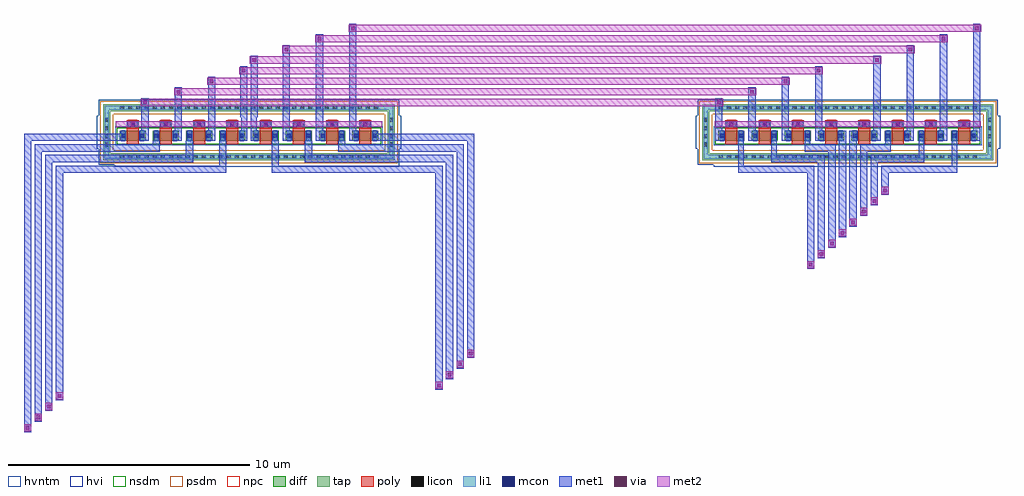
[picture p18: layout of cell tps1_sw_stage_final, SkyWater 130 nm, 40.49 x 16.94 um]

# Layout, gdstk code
import gdstk
lib = gdstk.Library(unit=1e-6, precision=1e-09)
def R(c, l, rs):  # rectangles x0, y0, x1, y1
    for r in rs: c.add(gdstk.rectangle(r[:2], r[2:], *l))
def A(c, l, x, y, w, h, nx, ny, dx, dy):  # array of equal rectangles
    R(c, l, [(x+i*dx, y+j*dy, x+i*dx+w, y+j*dy+h) for i in range(nx) for j in range(ny)])
diff = (65, 20)
tap = (65, 44)
poly = (66, 20)
licon = (66, 44)
li1 = (67, 20)
mcon = (67, 44)
met1 = (68, 20)
via = (68, 44)
met2 = (69, 20)
hvi = (75, 20)
nsdm = (93, 44)
psdm = (94, 20)
npc = (95, 20)
hvntm = (125, 20)

sky130_fd_pr__nfet_g5v0d = lib.new_cell('sky130_fd_pr__nfet_g5v0d10v5_NQHLCX')
R(sky130_fd_pr__nfet_g5v0d, diff, [(-0.54,-0.365,0.54,0.055)])
R(sky130_fd_pr__nfet_g5v0d, poly, [(-0.25,-0.495,0.25,0.495)])
R(sky130_fd_pr__nfet_g5v0d, licon, [(-0.48,-0.24,-0.31,-0.07), (0.31,-0.24,0.48,-0.07), (-0.085,0.245,0.085,0.415)])
R(sky130_fd_pr__nfet_g5v0d, li1, [(-0.48,-0.385,-0.31,0.075), (0.31,-0.385,0.48,0.075), (-0.25,0.245,0.25,0.415)])
R(sky130_fd_pr__nfet_g5v0d, mcon, [(-0.48,-0.24,-0.31,-0.07), (0.31,-0.24,0.48,-0.07), (-0.085,0.245,0.085,0.415)])
R(sky130_fd_pr__nfet_g5v0d, met1, [(-0.51,-0.365,-0.28,0.055), (0.28,-0.365,0.51,0.055), (-0.23,0.215,0.23,0.445)])
R(sky130_fd_pr__nfet_g5v0d, hvi, [(-0.725,-0.575,0.725,0.265)])
R(sky130_fd_pr__nfet_g5v0d, nsdm, [(-0.665,-0.49,0.665,0.18)])
R(sky130_fd_pr__nfet_g5v0d, npc, [(-0.185,0.145,0.185,0.515)])
R(sky130_fd_pr__nfet_g5v0d, hvntm, [(-0.725,-0.55,0.725,0.24)])

hnmos_1 = lib.new_cell('hnmos_1')
R(hnmos_1, met1, [(0.325,0.71,0.645,0.97)])
R(hnmos_1, via, [(0.41,0.765,0.56,0.915)])
R(hnmos_1, met2, [(-0.205,0.71,1.175,0.97)])
hnmos_1.add(gdstk.Reference(sky130_fd_pr__nfet_g5v0d, (0.485,0.51)))

hnmos_2 = lib.new_cell('hnmos_2')
R(hnmos_2, nsdm, [(1.335,0.01,1.385,0.68)])
hnmos_2.add(gdstk.Reference(hnmos_1, (1.565,-0.01)))
hnmos_2.add(gdstk.Reference(hnmos_1, (0.185,-0.01)))

hnmos_4 = lib.new_cell('hnmos_4')
R(hnmos_4, nsdm, [(2.695,0.005,2.745,0.675)])
hnmos_4.add(gdstk.Reference(hnmos_2, (2.74,-0.005)))
hnmos_4.add(gdstk.Reference(hnmos_2, (-0.02,-0.005)))

hnmos_8 = lib.new_cell('hnmos_8')
R(hnmos_8, tap, [(-0.505,-0.72,11.575,-0.43), (-0.505,-0.43,-0.215,1.32), (11.285,-0.43,11.575,1.32), (-0.505,1.32,11.575,1.61)])
A(hnmos_8, licon, 0.18, -0.66, 0.17, 0.17, 32, 2, 0.34, 2.04)
A(hnmos_8, licon, -0.445, -0.15, 0.17, 0.17, 1, 4, 0, 0.34)
A(hnmos_8, licon, 11.345, -0.15, 0.17, 0.17, 1, 4, 0, 0.34)
R(hnmos_8, li1, [(-0.445,-0.66,11.515,-0.49), (-0.445,-0.49,-0.275,1.38), (11.345,-0.49,11.515,1.38), (-0.445,1.38,11.515,1.55)])
R(hnmos_8, hvi, [(-0.03,-0.995,11.76,-0.905), (-0.69,-0.905,11.76,-0.245), (-0.78,-0.245,11.85,-0.13), (-0.78,-0.13,0.06,0.71), (11.01,-0.13,11.85,0.71), (-0.78,0.71,11.85,1.135), (-0.69,1.135,11.76,1.795)])
R(hnmos_8, nsdm, [(5.51,-0.045,5.56,0.625)])
R(hnmos_8, psdm, [(-0.63,-0.845,11.7,-0.305), (-0.63,-0.305,-0.09,1.195), (11.16,-0.305,11.7,1.195), (-0.63,1.195,11.7,1.735)])
hnmos_8.add(gdstk.Reference(hnmos_4, (5.575,-0.05)))
hnmos_8.add(gdstk.Reference(hnmos_4, (0.055,-0.05)))

nswitch_8_stage_2 = lib.new_cell('nswitch_8_stage_2')
R(nswitch_8_stage_2, met1, [(171.455,-28.25,176.835,-27.95), (178.705,-28.25,184.085,-27.95), (176.535,-27.95,176.835,-26.93), (178.705,-27.95,179.005,-26.93), (171.455,-27.81,175.455,-27.51), (180.085,-27.81,184.085,-27.51), (175.155,-27.51,175.455,-26.93), (180.085,-27.51,180.385,-26.93), (171.455,-27.37,174.075,-27.07), (181.465,-27.37,184.085,-27.07), (173.775,-27.07,174.075,-26.93), (181.465,-27.07,181.765,-26.93), (171.455,-26.93,172.43,-26.63), (173.31,-26.93,173.61,-25.15), (174.69,-26.93,174.99,-24.71), (176.07,-26.93,176.37,-24.27), (177.4,-26.93,177.7,-26.49), (177.84,-26.93,178.14,-26.49), (179.17,-26.93,179.47,-22.95), (180.55,-26.93,180.85,-22.51), (181.93,-26.93,182.23,-22.07), (183.11,-26.93,184.085,-26.63), (177.45,-26.49,177.7,-25.935), (177.84,-26.49,178.09,-25.935), (177.4,-25.935,177.7,-23.83), (177.84,-25.935,178.14,-23.39)])
R(nswitch_8_stage_2, via, [(173.385,-25.405,173.535,-25.255), (174.765,-24.965,174.915,-24.815), (176.145,-24.525,176.295,-24.375), (177.475,-24.085,177.625,-23.935), (177.915,-23.645,178.065,-23.495), (179.245,-23.205,179.395,-23.055), (180.625,-22.765,180.775,-22.615), (182.005,-22.325,182.155,-22.175)])
R(nswitch_8_stage_2, met2, [(173.31,-25.48,173.61,-25.18), (174.69,-25.04,174.99,-24.74), (176.07,-24.6,176.37,-24.3), (177.4,-24.16,177.7,-23.86), (177.84,-23.72,178.14,-23.42), (179.17,-23.28,179.47,-22.98), (180.55,-22.84,180.85,-22.54), (181.93,-22.4,182.23,-22.1)])
nswitch_8_stage_2.add(gdstk.Reference(hnmos_8, (172.235,-27.01)))

nswitch_8_stage_1 = lib.new_cell('nswitch_8_stage_1')
R(nswitch_8_stage_1, met1, [(152.145,-42.33,152.445,-42.19), (152.585,-42.33,152.885,-41.75), (153.025,-42.33,153.325,-41.31), (153.465,-42.33,153.765,-40.45), (153.905,-42.33,154.205,-40.45), (154.345,-42.33,154.645,-41.31), (154.785,-42.33,155.085,-41.75), (155.225,-42.33,155.525,-42.19), (149.285,-42.19,152.445,-41.89), (155.225,-42.19,158.385,-41.89), (149.285,-41.89,149.515,-40.87), (158.155,-41.89,158.385,-40.81), (150.665,-41.75,152.885,-41.45), (154.785,-41.75,157.005,-41.45), (150.665,-41.45,150.895,-40.87), (156.775,-41.45,157.005,-40.85), (152.045,-41.31,153.325,-41.01), (154.345,-41.31,155.625,-41.01), (152.045,-41.01,152.275,-40.87), (155.395,-41.01,155.625,-40.87), (148.335,-40.87,148.635,-39.09), (149.715,-40.87,150.015,-38.65), (151.095,-40.87,151.395,-38.21), (152.475,-40.87,152.775,-37.77), (154.895,-40.87,155.195,-37.33), (156.275,-40.87,156.575,-36.89), (157.655,-40.87,157.955,-36.45), (159.035,-40.87,159.335,-36.01), (156.79,-40.85,157.005,-40.81)])
R(nswitch_8_stage_1, via, [(148.41,-39.345,148.56,-39.195), (149.79,-38.905,149.94,-38.755), (151.17,-38.465,151.32,-38.315), (152.55,-38.025,152.7,-37.875), (154.97,-37.585,155.12,-37.435), (156.35,-37.145,156.5,-36.995), (157.73,-36.705,157.88,-36.555), (159.11,-36.265,159.26,-36.115)])
R(nswitch_8_stage_1, met2, [(148.335,-39.42,148.635,-39.12), (149.715,-38.98,150.015,-38.68), (151.095,-38.54,151.395,-38.24), (152.475,-38.1,152.775,-37.8), (154.895,-37.66,155.195,-37.36), (156.275,-37.22,156.575,-36.92), (157.655,-36.78,157.955,-36.48), (159.035,-36.34,159.335,-36.04)])
nswitch_8_stage_1.add(gdstk.Reference(hnmos_8, (148.3,-40.95)))

tps1_sw_stage_final = lib.new_cell('tps1_sw_stage_final')
R(tps1_sw_stage_final, met1, [(168.435,-39.45,168.735,-27.37), (168.875,-39.01,169.175,-27.81), (169.315,-38.57,169.615,-28.25), (169.755,-38.13,170.055,-28.69), (185.5,-37.69,185.8,-28.69), (185.94,-37.25,186.24,-28.25), (186.38,-36.81,186.68,-27.81), (186.82,-36.37,187.12,-27.37), (200.925,-32.68,201.225,-28.83), (201.365,-32.24,201.665,-28.83), (201.805,-31.8,202.105,-28.83), (202.245,-31.36,202.545,-28.83), (202.685,-30.92,202.985,-28.83), (203.125,-30.48,203.425,-28.83), (203.565,-30.04,203.865,-28.83), (204.005,-29.6,204.305,-28.83), (169.755,-28.69,171.455,-28.39), (178.705,-28.69,185.8,-28.39), (169.315,-28.25,171.455,-27.95), (180.085,-28.25,186.24,-27.95), (168.875,-27.81,171.455,-27.51), (181.465,-27.81,186.68,-27.51), (168.435,-27.37,171.455,-27.07), (183.08,-27.37,187.12,-27.07)])
R(tps1_sw_stage_final, via, [(168.51,-39.345,168.66,-39.195), (168.95,-38.905,169.1,-38.755), (169.39,-38.465,169.54,-38.315), (169.83,-38.025,169.98,-37.875), (185.575,-37.585,185.725,-37.435), (186.015,-37.145,186.165,-36.995), (186.455,-36.705,186.605,-36.555), (186.895,-36.265,187.045,-36.115), (201,-32.575,201.15,-32.425), (201.44,-32.135,201.59,-31.985), (201.88,-31.695,202.03,-31.545), (202.32,-31.255,202.47,-31.105), (202.76,-30.815,202.91,-30.665), (203.2,-30.375,203.35,-30.225), (203.64,-29.935,203.79,-29.785), (204.08,-29.495,204.23,-29.345)])
R(tps1_sw_stage_final, met2, [(168.435,-39.42,168.735,-39.12), (168.875,-38.98,169.175,-38.68), (169.315,-38.54,169.615,-38.24), (169.755,-38.1,170.055,-37.8), (185.5,-37.66,185.8,-37.36), (185.94,-37.22,186.24,-36.92), (186.38,-36.78,186.68,-36.48), (186.82,-36.34,187.12,-36.04), (200.925,-32.65,201.225,-32.35), (201.365,-32.21,201.665,-31.91), (201.805,-31.77,202.105,-31.47), (202.245,-31.33,202.545,-31.03), (202.685,-30.89,202.985,-30.59), (203.125,-30.45,203.425,-30.15), (203.565,-30.01,203.865,-29.71), (204.005,-29.57,204.305,-29.27), (173.28,-25.92,197.445,-25.62), (174.66,-25.48,198.825,-25.18), (176.04,-25.04,200.205,-24.74), (177.37,-24.6,201.585,-24.3), (177.81,-24.16,204.005,-23.86), (179.14,-23.72,205.385,-23.42), (180.52,-23.28,206.765,-22.98), (181.9,-22.84,208.145,-22.54)])
tps1_sw_stage_final.add(gdstk.Reference(nswitch_8_stage_2, (0,-0.44)))
tps1_sw_stage_final.add(gdstk.Reference(nswitch_8_stage_1, (48.78,13.5)))

lib.write_gds('tps1_sw_stage_final.gds')
